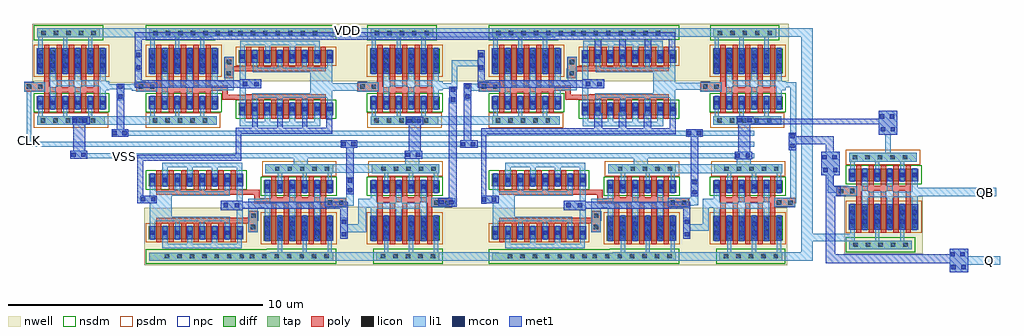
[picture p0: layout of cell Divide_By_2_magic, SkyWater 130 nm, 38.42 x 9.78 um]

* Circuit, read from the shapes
.subckt Divide_By_2_magic CLK Q QB VDD VSS
XM1 TG_MAGIC_2/CLK CLK VSS VSS sky130_fd_pr__nfet_01v8 w=0.5 l=0.2 m=5
XM2 TG_MAGIC_6/inverter_0/OUT TG_MAGIC_2/CLK VSS VSS sky130_fd_pr__nfet_01v8 w=0.5 l=0.2 m=5
XM3 TG_MAGIC_0/IN CLK inverter_7/IN VSS sky130_fd_pr__nfet_01v8 w=0.5 l=0.2 m=7
XM4 inverter_7/IN TG_MAGIC_2/CLK TG_MAGIC_6/IN VSS sky130_fd_pr__nfet_01v8 w=0.5 l=0.2 m=7
XM5 VSS CLK TG_MAGIC_0/inverter_0/OUT VSS sky130_fd_pr__nfet_01v8 w=0.5 l=0.2 m=5
XM6 VSS TG_MAGIC_8/IN TG_MAGIC_0/IN VSS sky130_fd_pr__nfet_01v8 w=0.5 l=0.2 m=5
XM7 TG_MAGIC_8/IN inverter_7/IN VSS VSS sky130_fd_pr__nfet_01v8 w=0.5 l=0.2 m=5
XM8 TG_MAGIC_8/inverter_0/OUT CLK VSS VSS sky130_fd_pr__nfet_01v8 w=0.5 l=0.2 m=5
XM9 TG_MAGIC_2/IN TG_MAGIC_2/CLK TG_MAGIC_6/IN VSS sky130_fd_pr__nfet_01v8 w=0.5 l=0.2 m=7
XM10 TG_MAGIC_6/IN CLK TG_MAGIC_8/IN VSS sky130_fd_pr__nfet_01v8 w=0.5 l=0.2 m=7
XM11 VSS TG_MAGIC_2/CLK TG_MAGIC_2/inverter_0/OUT VSS sky130_fd_pr__nfet_01v8 w=0.5 l=0.2 m=5
XM12 VSS Q TG_MAGIC_2/IN VSS sky130_fd_pr__nfet_01v8 w=0.5 l=0.2 m=5
XM13 Q TG_MAGIC_6/IN VSS VSS sky130_fd_pr__nfet_01v8 w=0.5 l=0.2 m=5
XM14 QB Q VSS VSS sky130_fd_pr__nfet_01v8 w=0.5 l=0.2 m=5
XM15 TG_MAGIC_2/CLK CLK VDD VDD sky130_fd_pr__pfet_01v8 w=1 l=0.2 m=5
XM16 TG_MAGIC_6/inverter_0/OUT TG_MAGIC_2/CLK VDD VDD sky130_fd_pr__pfet_01v8 w=1 l=0.2 m=5
XM17 TG_MAGIC_0/IN TG_MAGIC_0/inverter_0/OUT inverter_7/IN VDD sky130_fd_pr__pfet_01v8 w=0.5 l=0.2 m=7
XM18 inverter_7/IN TG_MAGIC_6/inverter_0/OUT TG_MAGIC_6/IN VDD sky130_fd_pr__pfet_01v8 w=0.5 l=0.2 m=7
XM19 VDD CLK TG_MAGIC_0/inverter_0/OUT VDD sky130_fd_pr__pfet_01v8 w=1 l=0.2 m=5
XM20 VDD TG_MAGIC_8/IN TG_MAGIC_0/IN VDD sky130_fd_pr__pfet_01v8 w=1 l=0.2 m=5
XM21 TG_MAGIC_8/IN inverter_7/IN VDD VDD sky130_fd_pr__pfet_01v8 w=1 l=0.2 m=5
XM22 TG_MAGIC_8/inverter_0/OUT CLK VDD VDD sky130_fd_pr__pfet_01v8 w=1 l=0.2 m=5
XM23 TG_MAGIC_2/IN TG_MAGIC_2/inverter_0/OUT TG_MAGIC_6/IN VDD sky130_fd_pr__pfet_01v8 w=0.5 l=0.2 m=7
XM24 TG_MAGIC_6/IN TG_MAGIC_8/inverter_0/OUT TG_MAGIC_8/IN VDD sky130_fd_pr__pfet_01v8 w=0.5 l=0.2 m=7
XM25 VDD TG_MAGIC_2/CLK TG_MAGIC_2/inverter_0/OUT VDD sky130_fd_pr__pfet_01v8 w=1 l=0.2 m=5
XM26 VDD Q TG_MAGIC_2/IN VDD sky130_fd_pr__pfet_01v8 w=1 l=0.2 m=5
XM27 Q TG_MAGIC_6/IN VDD VDD sky130_fd_pr__pfet_01v8 w=1 l=0.2 m=5
XM28 QB Q VDD VDD sky130_fd_pr__pfet_01v8 w=1 l=0.2 m=5
.ends

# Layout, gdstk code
from math import pi, radians
import gdstk
lib = gdstk.Library(unit=1e-6, precision=1e-09)
def R(c, l, rs):  # rectangles x0, y0, x1, y1
    for r in rs: c.add(gdstk.rectangle(r[:2], r[2:], *l))
def A(c, l, x, y, w, h, nx, ny, dx, dy):  # array of equal rectangles
    R(c, l, [(x+i*dx, y+j*dy, x+i*dx+w, y+j*dy+h) for i in range(nx) for j in range(ny)])
nwell = (64, 20)
diff = (65, 20)
tap = (65, 44)
poly = (66, 20)
licon = (66, 44)
li1 = (67, 20)
mcon = (67, 44)
met1 = (68, 20)
nsdm = (93, 44)
psdm = (94, 20)
npc = (95, 20)

sky130_fd_pr__pfet_01v8_ = lib.new_cell('sky130_fd_pr__pfet_01v8_ES6JQB')
R(sky130_fd_pr__pfet_01v8_, nwell, [(-0.57,-0.81,0.57,0.81)])
R(sky130_fd_pr__pfet_01v8_, diff, [(-0.39,-0.5,0.39,0.5)])
R(sky130_fd_pr__pfet_01v8_, poly, [(-0.1,-0.63,0.1,0.63)])
A(sky130_fd_pr__pfet_01v8_, licon, -0.33, -0.425, 0.17, 0.17, 1, 3, 0, 0.34)
A(sky130_fd_pr__pfet_01v8_, licon, 0.16, -0.425, 0.17, 0.17, 1, 3, 0, 0.34)
R(sky130_fd_pr__pfet_01v8_, li1, [(-0.33,-0.52,-0.16,0.52), (0.16,-0.52,0.33,0.52)])
R(sky130_fd_pr__pfet_01v8_, mcon, [(-0.33,-0.265,-0.16,-0.095), (0.16,-0.265,0.33,-0.095), (-0.33,0.095,-0.16,0.265), (0.16,0.095,0.33,0.265)])
R(sky130_fd_pr__pfet_01v8_, met1, [(-0.36,-0.5,-0.13,0.5), (0.13,-0.5,0.36,0.5)])
R(sky130_fd_pr__pfet_01v8_, psdm, [(-0.515,-0.625,0.515,0.625)])

sky130_fd_pr__nfet_01v8_ = lib.new_cell('sky130_fd_pr__nfet_01v8_S4GQ7J')
R(sky130_fd_pr__nfet_01v8_, diff, [(-0.39,-0.25,0.39,0.25)])
R(sky130_fd_pr__nfet_01v8_, poly, [(-0.1,-0.38,0.1,0.38)])
R(sky130_fd_pr__nfet_01v8_, licon, [(-0.33,-0.085,-0.16,0.085), (0.16,-0.085,0.33,0.085)])
R(sky130_fd_pr__nfet_01v8_, li1, [(-0.33,-0.27,-0.16,0.27), (0.16,-0.27,0.33,0.27)])
R(sky130_fd_pr__nfet_01v8_, mcon, [(-0.33,-0.085,-0.16,0.085), (0.16,-0.085,0.33,0.085)])
R(sky130_fd_pr__nfet_01v8_, met1, [(-0.36,-0.25,-0.13,0.25), (0.13,-0.25,0.36,0.25)])
R(sky130_fd_pr__nfet_01v8_, nsdm, [(-0.515,-0.375,0.515,0.375)])

inverter = lib.new_cell('inverter')
R(inverter, nwell, [(1.63,0.8,1.85,1.025), (1.42,1.115,4.52,1.835)])
R(inverter, tap, [(1.615,-2.135,4.285,-1.795), (1.615,1.315,4.09,1.655)])
A(inverter, poly, 1.89, -1.02, 0.2, 0.17, 5, 1, 0.49, 0)
A(inverter, poly, 2.38, -0.65, 0.2, 0.53, 4, 1, 0.49, 0)
R(inverter, poly, [(1.89,-0.85,4.05,-0.83), (1.1,-0.83,4.05,-0.65), (1.1,-0.65,2.09,-0.46), (1.89,-0.46,2.09,-0.2), (1.96,-0.2,2.09,-0.185)])
A(inverter, licon, 1.765, -2.05, 0.17, 0.17, 5, 1, 0.49, 0)
A(inverter, licon, 1.785, 1.395, 0.17, 0.17, 5, 1, 0.49, 0)
R(inverter, licon, [(1.655,-0.725,1.825,-0.555), (1.21,-0.71,1.38,-0.54)])
R(inverter, li1, [(1.615,-2.135,4.285,-1.795), (1.66,-1.795,1.83,-1.52), (2.64,-1.795,2.81,-1.52), (3.62,-1.795,3.79,-1.525), (2.12,-1.08,2.35,-0.615), (3.1,-1.08,3.33,-0.615), (4.08,-1.08,4.31,-0.775), (1.1,-0.83,1.94,-0.46), (4.08,-0.775,4.46,-0.615), (2.12,-0.615,4.46,-0.425), (2.12,-0.425,4.31,-0.385), (2.12,-0.385,2.35,0.88), (3.1,-0.385,3.33,-0.06), (4.08,-0.385,4.31,-0.06), (1.66,0.895,1.83,1.315), (2.64,0.9,2.81,1.315), (3.62,0.9,3.79,1.315), (1.615,1.315,4.09,1.655)])
R(inverter, nsdm, [(1.49,1.19,4.215,1.78)])
R(inverter, psdm, [(1.49,-2.26,4.41,-1.67)])
R(inverter, npc, [(1.555,-0.825,1.925,-0.81), (1.11,-0.81,1.925,-0.455), (1.11,-0.455,1.48,-0.44)])
inverter.add(gdstk.Reference(sky130_fd_pr__pfet_01v8_, (2.97,0.38)))
inverter.add(gdstk.Reference(sky130_fd_pr__pfet_01v8_, (2.48,0.38)))
inverter.add(gdstk.Reference(sky130_fd_pr__pfet_01v8_, (1.99,0.38)))
inverter.add(gdstk.Reference(sky130_fd_pr__nfet_01v8_, (1.99,-1.27)))
inverter.add(gdstk.Reference(sky130_fd_pr__nfet_01v8_, (2.48,-1.27)))
inverter.add(gdstk.Reference(sky130_fd_pr__nfet_01v8_, (2.97,-1.27)))
inverter.add(gdstk.Reference(sky130_fd_pr__pfet_01v8_, (3.46,0.38)))
inverter.add(gdstk.Reference(sky130_fd_pr__pfet_01v8_, (3.95,0.38)))
inverter.add(gdstk.Reference(sky130_fd_pr__nfet_01v8_, (3.46,-1.27), x_reflection=True))
inverter.add(gdstk.Reference(sky130_fd_pr__nfet_01v8_, (3.95,-1.27), x_reflection=True))
inverter.add(gdstk.Label('VDD', (2.85,1.485), layer=67, texttype=5))
inverter.add(gdstk.Label('VSS', (2.83,-1.965), layer=67, texttype=5))
inverter.add(gdstk.Label('IN', (1.51,-0.67), layer=67, texttype=5))
inverter.add(gdstk.Label('OUT', (4.345,-0.68), layer=67, texttype=5))

c_sky130_fd_pr__pfet_01v8_ = lib.new_cell('sky130_fd_pr__pfet_01v8_WN2VTC')
R(c_sky130_fd_pr__pfet_01v8_, nwell, [(-0.57,-0.56,0.57,0.56)])
R(c_sky130_fd_pr__pfet_01v8_, diff, [(-0.39,-0.25,0.39,0.25)])
R(c_sky130_fd_pr__pfet_01v8_, poly, [(-0.1,-0.38,0.1,0.38)])
R(c_sky130_fd_pr__pfet_01v8_, licon, [(-0.33,-0.085,-0.16,0.085), (0.16,-0.085,0.33,0.085)])
R(c_sky130_fd_pr__pfet_01v8_, li1, [(-0.33,-0.27,-0.16,0.27), (0.16,-0.27,0.33,0.27)])
R(c_sky130_fd_pr__pfet_01v8_, mcon, [(-0.33,-0.085,-0.16,0.085), (0.16,-0.085,0.33,0.085)])
R(c_sky130_fd_pr__pfet_01v8_, met1, [(-0.36,-0.25,-0.13,0.25), (0.13,-0.25,0.36,0.25)])
R(c_sky130_fd_pr__pfet_01v8_, psdm, [(-0.515,-0.375,0.515,0.375)])

tg_magic = lib.new_cell('TG_MAGIC')
R(tg_magic, nwell, [(1.385,1.73,7.84,3.12), (1.385,3.12,4.175,3.155), (4.975,3.12,5.185,3.155), (5.945,3.12,6.155,3.155), (6.925,3.12,7.135,3.135), (7.595,3.12,7.84,3.135), (6.925,3.135,7.84,3.155), (1.385,3.155,7.84,3.995)])
R(tg_magic, tap, [(2.25,3.475,2.89,3.5), (2.25,3.5,7.65,3.815)])
R(tg_magic, poly, [(3.295,1.015,4.43,1.02), (3.295,1.02,7.37,1.215), (3.295,1.215,3.51,1.355), (4.23,1.215,7.37,1.22), (2.69,1.355,3.51,1.57), (3.31,1.57,3.51,1.575), (3.38,1.855,3.75,2.135), (3.38,2.135,7.37,2.335), (3.38,2.335,3.75,2.695)])
A(tg_magic, licon, 3.92, 3.555, 0.17, 0.17, 7, 1, 0.49, 0)
R(tg_magic, licon, [(3.46,1.965,3.63,2.135), (3.475,2.41,3.645,2.58), (3.03,3.555,3.2,3.725), (3.52,3.555,3.69,3.725)])
R(tg_magic, li1, [(3.975,-0.03,7.14,0.14), (2.72,0.025,3.08,0.365), (3.975,0.14,4.195,0.43), (4.955,0.14,5.175,0.485), (5.935,0.14,6.155,0.485), (6.92,0.14,7.14,0.43), (3.97,0.78,4.205,1.455), (7.415,0.84,7.62,1.055), (5.46,0.845,5.665,1.09), (6.43,0.845,6.635,1.09), (4.47,0.885,4.675,1.09), (7.415,1.055,7.625,1.09), (4.47,1.09,7.625,1.26), (6.75,1.26,7.625,2.095), (-0.28,1.355,0.4,1.645), (2.905,1.385,3.745,1.735), (3.97,1.455,4.83,1.825), (3.38,1.735,3.745,1.855), (3.97,1.825,4.205,2.56), (3.38,1.855,3.75,2.695), (4.485,2.095,7.625,2.265), (-0.16,2.13,0.125,2.95), (4.485,2.265,4.665,2.525), (5.475,2.265,5.655,2.535), (6.445,2.265,6.625,2.535), (7.415,2.265,7.625,2.485), (5.945,2.875,6.155,3.155), (4.975,2.88,5.185,3.155), (6.925,2.9,7.135,3.155), (3.995,2.93,4.175,3.155), (3.995,3.155,7.135,3.325), (2.25,3.475,2.89,3.5), (2.25,3.5,7.65,3.815)])
R(tg_magic, mcon, [(4.55,1.535,4.72,1.705), (4.105,1.55,4.275,1.72), (-0.105,2.2,0.065,2.37), (-0.105,2.69,0.065,2.86)])
R(tg_magic, met1, [(3.985,1.455,4.83,1.49), (-0.16,1.49,4.83,1.775), (-0.16,1.775,0.125,2.95), (3.985,1.775,4.83,1.825)])
R(tg_magic, nsdm, [(2.125,3.35,3.015,3.375), (2.125,3.375,7.775,3.94)])
R(tg_magic, npc, [(3.36,1.865,3.73,2.235), (3.375,2.235,3.73,2.31), (3.375,2.31,3.745,2.68)])
tg_magic.add(gdstk.Reference(inverter, (-1.205,2.16)))
tg_magic.add(gdstk.Reference(sky130_fd_pr__nfet_01v8_, (4.33,0.64)))
tg_magic.add(gdstk.Reference(sky130_fd_pr__nfet_01v8_, (4.82,0.64)))
tg_magic.add(gdstk.Reference(sky130_fd_pr__nfet_01v8_, (5.8,0.64)))
tg_magic.add(gdstk.Reference(sky130_fd_pr__nfet_01v8_, (5.31,0.64)))
tg_magic.add(gdstk.Reference(sky130_fd_pr__nfet_01v8_, (6.29,0.64)))
tg_magic.add(gdstk.Reference(sky130_fd_pr__nfet_01v8_, (6.78,0.64)))
tg_magic.add(gdstk.Reference(c_sky130_fd_pr__pfet_01v8_, (4.82,2.715)))
tg_magic.add(gdstk.Reference(c_sky130_fd_pr__pfet_01v8_, (4.33,2.715)))
tg_magic.add(gdstk.Reference(c_sky130_fd_pr__pfet_01v8_, (5.31,2.715)))
tg_magic.add(gdstk.Reference(c_sky130_fd_pr__pfet_01v8_, (5.8,2.715)))
tg_magic.add(gdstk.Reference(c_sky130_fd_pr__pfet_01v8_, (7.27,2.715)))
tg_magic.add(gdstk.Reference(c_sky130_fd_pr__pfet_01v8_, (6.78,2.715)))
tg_magic.add(gdstk.Reference(c_sky130_fd_pr__pfet_01v8_, (6.29,2.715)))
tg_magic.add(gdstk.Reference(sky130_fd_pr__nfet_01v8_, (7.27,0.64)))
tg_magic.add(gdstk.Label('IN', (-0.035,2.52), layer=68, texttype=5))
tg_magic.add(gdstk.Label('CLK', (-0.21,1.47), layer=67, texttype=5))
tg_magic.add(gdstk.Label('VSS', (2.915,0.155), layer=67, texttype=5))
tg_magic.add(gdstk.Label('VDD', (5.69,3.7), layer=67, texttype=5))
tg_magic.add(gdstk.Label('OUT', (7.525,1.565), layer=67, texttype=5))

divide_by_2_magic = lib.new_cell('Divide_By_2_magic')
R(divide_by_2_magic, nwell, [(3.215,-5.525,16.895,-5.52), (-0.815,-5.52,16.895,-5.34), (-1.025,-5.34,16.895,-5), (-0.815,-5,16.895,-3.255), (-0.815,-3.255,3.39,-3.225), (-9.81,1.66,-8.105,3.46), (-0.81,1.715,0.555,3.465), (3.28,1.715,16.96,3.46), (-10.41,3.46,-8.045,3.8), (2.92,3.46,16.96,3.8), (-1.075,3.465,1.29,3.805), (-9.81,3.8,-8.105,3.98), (3.28,3.8,16.96,3.985), (-0.81,3.805,0.555,3.98)])
R(divide_by_2_magic, li1, [(23.285,-5.795,24.015,-5.505), (23.285,-5.505,25.27,-5.175), (-1.025,-5.34,1.34,-5), (3.18,-5.34,5.545,-5), (12.39,-5.34,17.9,-5), (23.285,-5.175,24.015,-4.865), (17.455,-5,17.9,-4.575), (17.455,-4.575,19.545,-4.29), (17.455,-4.29,17.9,3.475), (-0.615,-4.215,0.325,-3.905), (12.91,-4.155,13.8,-3.91), (13.57,-3.91,13.8,-3.26), (0.015,-3.905,0.325,-3.26), (0.015,-3.26,0.705,-2.91), (13.57,-3.26,14.205,-2.91), (3.165,-3.19,3.825,-2.89), (-0.47,-3.17,-0.17,-2.06), (13.09,-3.165,13.39,-2.88), (4.845,-3.085,5.53,-2.785), (-8.575,-3.075,-7.915,-2.775), (17.01,-3.075,17.25,-0.995), (13.03,-2.88,13.39,-2.855), (13.09,-2.855,13.39,-2.135), (21.825,-2.81,25.13,-2.46), (18.48,-2.66,19.305,-2.39), (18.48,-2.39,18.7,-1.975), (18.235,-1.975,18.965,-1.045), (12.455,-1.89,14.225,-1.55), (-1.1,-1.88,1.5,-1.54), (-2.53,-1.785,-1.975,-1.31), (14.905,-1.78,15.46,-1.35), (10.85,-1.775,11.405,-1.31), (1.86,-1.755,2.415,-1.32), (14.83,-1.35,15.515,-1.31), (-11.32,-1.32,-10.66,-1.31), (1.845,-1.32,2.53,-1.31), (-11.325,-1.31,15.6,-1.115), (20.745,-1.165,20.965,-0.375), (-11.32,-1.115,-10.66,-1.02), (1.845,-1.115,2.53,-1.02), (14.83,-1.115,15.515,-1.05), (16.955,-0.995,17.255,-0.31), (4.02,-0.905,4.705,-0.85), (-0.685,-0.9,-0.025,-0.85), (-13.05,-0.85,15.6,-0.655), (-13.05,-0.655,-12.855,1.5), (-0.685,-0.655,-0.025,-0.6), (4.02,-0.655,4.705,-0.605), (-9.705,-0.47,-9.045,-0.42), (12.91,-0.46,13.57,-0.42), (-9.705,-0.42,15.6,-0.225), (20.5,-0.375,21.23,0.555), (17.01,-0.31,17.25,1.48), (-9.705,-0.225,-9.045,-0.17), (12.91,-0.225,13.57,-0.16), (-10.075,0.01,-7.59,0.35), (3.065,0.01,5.665,0.35), (1.88,0.02,2.565,0.32), (-11.255,0.025,-10.57,0.325), (14.9,0.04,15.56,0.34), (-1.25,0.215,-1.02,0.875), (3.585,0.85,3.885,1.425), (-9.5,0.97,-9.2,1.4), (4.16,0.975,4.46,1.34), (4.16,1.34,4.875,1.63), (-1.125,1.355,0.315,1.64), (12.21,1.39,14.07,1.655), (-9.935,1.4,-8.82,1.61), (3.27,1.425,3.91,1.65), (16.62,1.48,17.25,1.665), (-9.5,1.61,-9.2,1.63), (4.16,1.63,4.46,1.635), (3.685,1.65,3.91,2.32), (16.62,1.665,17.245,1.675), (3.685,2.32,4.925,2.545), (-10.41,3.46,-8.045,3.8), (2.92,3.46,5.285,3.8), (-1.075,3.465,1.29,3.805), (12.38,3.475,17.9,3.815)])
R(divide_by_2_magic, mcon, [(23.36,-5.675,23.53,-5.505), (23.75,-5.675,23.92,-5.505), (23.325,-5.175,23.495,-5.005), (23.715,-5.175,23.885,-5.005), (3.2,-3.125,3.37,-2.955), (3.59,-3.125,3.76,-2.955), (4.88,-3.02,5.05,-2.85), (5.27,-3.02,5.44,-2.85), (-8.54,-3.01,-8.37,-2.84), (-8.15,-3.01,-7.98,-2.84), (13.155,-2.73,13.325,-2.56), (-0.405,-2.655,-0.235,-2.485), (13.155,-2.34,13.325,-2.17), (-0.405,-2.265,-0.235,-2.095), (18.31,-1.855,18.48,-1.685), (18.7,-1.855,18.87,-1.685), (18.275,-1.355,18.445,-1.185), (18.665,-1.355,18.835,-1.185), (14.865,-1.285,15.035,-1.115), (15.255,-1.285,15.425,-1.115), (-11.285,-1.255,-11.115,-1.085), (-10.895,-1.255,-10.725,-1.085), (1.88,-1.255,2.05,-1.085), (2.27,-1.255,2.44,-1.085), (17.02,-0.905,17.19,-0.735), (4.055,-0.84,4.225,-0.67), (4.445,-0.84,4.615,-0.67), (-0.65,-0.835,-0.48,-0.665), (-0.26,-0.835,-0.09,-0.665), (17.02,-0.515,17.19,-0.345), (-9.67,-0.405,-9.5,-0.235), (-9.28,-0.405,-9.11,-0.235), (12.945,-0.395,13.115,-0.225), (13.335,-0.395,13.505,-0.225), (20.575,-0.255,20.745,-0.085), (20.965,-0.255,21.135,-0.085), (1.915,0.085,2.085,0.255), (2.305,0.085,2.475,0.255), (-11.22,0.09,-11.05,0.26), (-10.83,0.09,-10.66,0.26), (14.935,0.105,15.105,0.275), (15.325,0.105,15.495,0.275), (20.54,0.245,20.71,0.415), (20.93,0.245,21.1,0.415), (3.65,0.915,3.82,1.085), (-9.435,1.035,-9.265,1.205), (4.225,1.04,4.395,1.21), (3.65,1.305,3.82,1.475), (-9.435,1.425,-9.265,1.595), (4.225,1.43,4.395,1.6)])
R(divide_by_2_magic, met1, [(23.285,-5.795,24.015,-5.45), (18.405,-5.45,24.015,-5.08), (18.405,-5.08,18.775,-2.775), (23.285,-5.08,24.015,-4.865), (3.58,-3.22,3.88,-3.19), (3.165,-3.19,3.88,-2.89), (4.85,-3.09,5.055,-3.085), (4.845,-3.085,5.53,-2.785), (-8.685,-3.075,-7.915,-2.775), (3.58,-2.89,3.88,0.85), (13.09,-2.795,13.39,-0.46), (4.85,-2.785,5.055,-0.36), (-8.685,-2.775,-8.455,-1.4), (18.405,-2.775,19.005,-2.405), (-0.47,-2.72,-0.17,-0.9), (18.405,-2.405,18.725,-1.975), (18.235,-1.975,18.965,-1.045), (-8.685,-1.4,-4.59,-1.175), (14.83,-1.35,15.515,-1.05), (-11.32,-1.32,-10.66,-1.02), (1.845,-1.32,2.53,-1.02), (-8.645,-1.175,-4.59,-1.17), (-4.82,-1.17,-4.59,-0.34), (14.965,-1.05,15.44,0.025), (18.405,-1.045,18.725,-0.76), (-11.22,-1.02,-10.745,0.025), (2,-1.02,2.475,0.02), (16.955,-0.995,17.255,-0.76), (4.02,-0.905,4.705,-0.605), (-0.685,-0.9,-0.025,-0.6), (16.955,-0.76,18.725,-0.44), (4.16,-0.605,4.46,1.635), (-9.705,-0.47,-9.045,-0.17), (12.91,-0.46,13.57,-0.16), (16.955,-0.44,17.255,-0.31), (20.5,-0.375,21.23,0.025), (4.85,-0.36,12.505,-0.12), (-4.82,-0.34,-1.02,-0.11), (-9.5,-0.17,-9.21,0.97), (9.305,-0.12,9.61,0.47), (10.26,-0.12,10.565,0.48), (11.24,-0.12,11.545,0.47), (12.265,-0.12,12.505,0.65), (-4.16,-0.11,-3.95,0.45), (-3.18,-0.11,-2.97,0.465), (-2.205,-0.11,-1.995,0.445), (-1.25,-0.11,-1.02,0.875), (1.88,0.02,2.565,0.32), (-11.255,0.025,-10.57,0.325), (14.965,0.025,21.23,0.04), (14.9,0.04,21.23,0.245), (14.9,0.245,15.56,0.34), (20.5,0.245,21.23,0.555), (3.58,0.85,3.885,1.075), (-9.5,0.97,-9.2,1.63), (3.585,1.075,3.885,1.51), (11.28,2.665,11.535,3.365), (9.31,2.76,9.565,3.365), (10.28,2.76,10.535,3.365), (12.24,2.79,12.49,3.365), (-8.795,2.885,-8.51,3.365), (-8.795,3.365,12.49,3.65)])
divide_by_2_magic.add(gdstk.Reference(tg_magic, (-0.575,-1.525), rotation=pi))
divide_by_2_magic.add(gdstk.Reference(inverter, (4.815,-3.685), rotation=pi))
divide_by_2_magic.add(gdstk.Reference(tg_magic, (12.925,-1.525), rotation=pi))
divide_by_2_magic.add(gdstk.Reference(inverter, (18.315,-3.685), rotation=pi))
divide_by_2_magic.add(gdstk.Reference(inverter, (17.715,-3.235), x_reflection=True))
divide_by_2_magic.add(gdstk.Reference(inverter, (-14.25,2.145)))
divide_by_2_magic.add(gdstk.Reference(tg_magic, (-8.635,-0.015)))
divide_by_2_magic.add(gdstk.Reference(inverter, (-1.125,2.145)))
divide_by_2_magic.add(gdstk.Reference(tg_magic, (4.865,-0.015)))
divide_by_2_magic.add(gdstk.Reference(inverter, (12.375,2.145)))
divide_by_2_magic.add(gdstk.Label('Q', (24.855,-5.33), layer=67, texttype=5))
divide_by_2_magic.add(gdstk.Label('QB', (24.69,-2.66), layer=67, texttype=5))
divide_by_2_magic.add(gdstk.Label('VDD', (-0.405,3.725), layer=67, texttype=5))
divide_by_2_magic.add(gdstk.Label('VSS', (-9.175,-1.24), layer=67, texttype=5))
divide_by_2_magic.add(gdstk.Label('CLK', (-12.93,-0.595), layer=67, texttype=5))

lib.write_gds('Divide_By_2_magic.gds')
